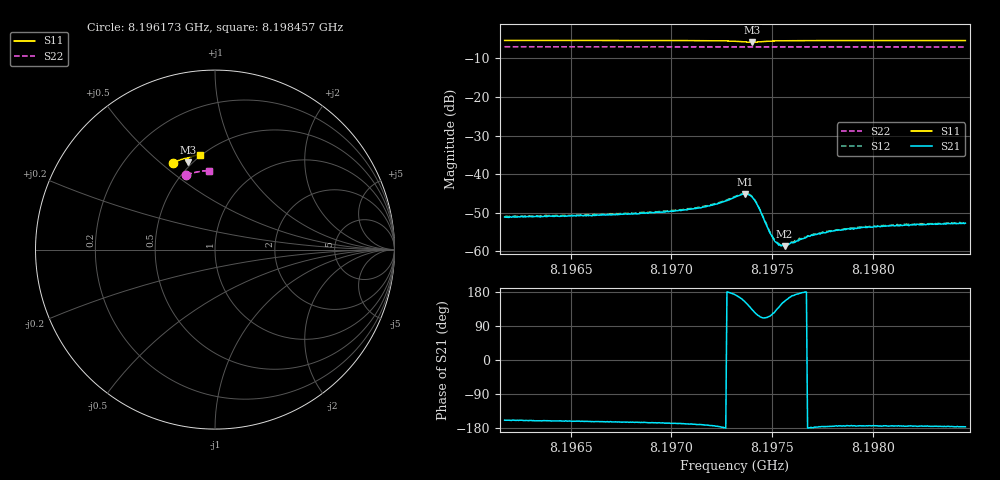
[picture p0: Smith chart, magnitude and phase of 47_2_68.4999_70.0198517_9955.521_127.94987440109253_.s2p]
#  HZ  S  RI  R  50.00
! Rohde & Schwarz Vector Network Analyzer
! Rohde-Schwarz,ZNB20-2Port,1311601062101988,3.16
! Created: UTC 3/20/2024, 4:50:41 PM
! freq[Hz]  re:S11  im:S11  re:S21  im:S21  re:S12  im:S12  re:S22  im:S22
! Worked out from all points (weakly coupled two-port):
!   401 points, 8.196173 GHz to 8.198457 GHz, reference 50 ohm
!   highest |S21| = -45.11 dB at 8.197366 GHz (marker M1); lowest = -58.6 dB at 8.19756 GHz (marker M2)
!   lowest |S11| = -5.9 dB at 8.197401 GHz (marker M3), VSWR 3.07, Z = 23.8 + j31.2 ohm
!   |S11| at or under -10 dB: nowhere
!   |S22| runs from -7.1 to -7.0 dB; largest |S21 - S12| = 0.00028
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8.196173e9  -0.2356 0.4826  -0.00259 -0.00101  -0.00265 -0.000927  -0.1596 0.4161
8.1965555e9  -0.21 0.4938  -0.00277 -0.000925  -0.00283 -0.000791  -0.1393 0.4226
8.1969381e9  -0.183 0.5035  -0.00312 -0.000813  -0.00322 -0.000663  -0.1184 0.4284
8.1970637e9  -0.1732 0.5064  -0.00338 -0.000697  -0.00343 -0.000574  -0.1116 0.43
8.1971493e9  -0.1657 0.5078  -0.00366 -0.000595  -0.00377 -0.000451  -0.1069 0.4311
8.197235e9  -0.1567 0.5081  -0.00419 -0.000328  -0.00429 -0.000155  -0.1021 0.4319
8.1973149e9  -0.1461 0.504  -0.00499 0.000685  -0.00508 0.000873  -0.0977 0.4327
8.1973663e9  -0.1426 0.4935  -0.00493 0.00256  -0.00488 0.0028  -0.0947 0.4328
8.1973834e9  -0.1449 0.4891  -0.00432 0.00329  -0.00425 0.00355  -0.0938 0.4329
8.1974006e9  -0.1496 0.4864  -0.0034 0.00372  -0.00328 0.00391  -0.093 0.4331
8.1974291e9  -0.1577 0.4885  -0.00178 0.00341  -0.00166 0.00352  -0.0917 0.4334
8.1974805e9  -0.161 0.4997  -0.000798 0.00176  -0.000737 0.00182  -0.0891 0.4342
8.1975033e9  -0.1595 0.5035  -0.000818 0.00125  -0.000775 0.00129  -0.0878 0.4343
8.1975205e9  -0.158 0.5056  -0.000877 0.000953  -0.000837 0.00103  -0.0867 0.4345
8.1975319e9  -0.1568 0.5067  -0.000904 0.000794  -0.000948 0.000836  -0.0862 0.4348
8.197549e9  -0.1551 0.5084  -0.00105 0.000613  -0.00101 0.000648  -0.0852 0.4349
8.1975604e9  -0.1542 0.5093  -0.00106 0.000493  -0.00108 0.000561  -0.0847 0.4352
8.1976975e9  -0.1416 0.5155  -0.00161 -3.4e-05  -0.00164 -1.43e-05  -0.0767 0.4364
8.1978231e9  -0.1315 0.5189  -0.00187 -0.000174  -0.00191 -0.000102  -0.0698 0.4374
8.1979487e9  -0.122 0.5212  -0.00204 -0.000225  -0.00207 -0.000168  -0.0627 0.4382
8.19808e9  -0.1123 0.5234  -0.00213 -0.000214  -0.00216 -0.000149  -0.0553 0.439
8.1984568e9  -0.0851 0.5282  -0.00232 -0.000151  -0.00238 -4.69e-05  -0.0342 0.4404
